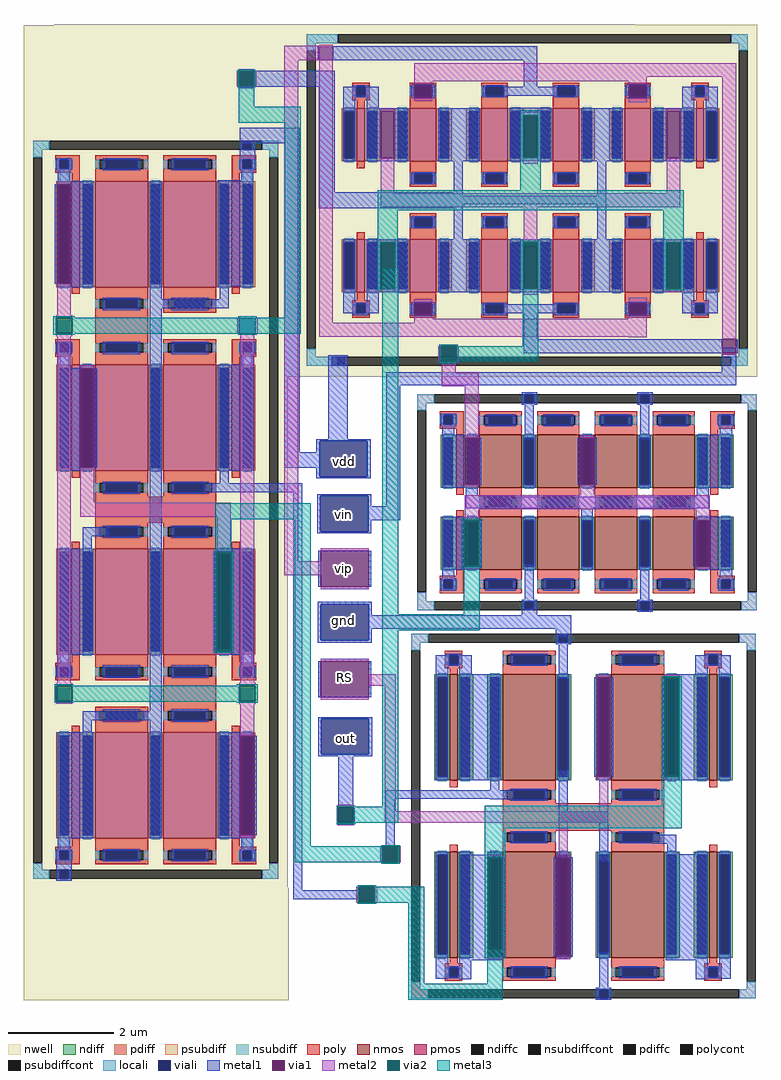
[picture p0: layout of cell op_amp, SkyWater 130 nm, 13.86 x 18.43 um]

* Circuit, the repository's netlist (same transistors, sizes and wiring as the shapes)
* NGSPICE file created from op_amp.ext - technology: sky130A

.subckt sky130_fd_pr__nfet_01v8_YYNGNX a_n407_n343# a_407_n255# a_189_55# a_407_55#
+ a_n247_55# a_n465_55# a_n29_n255# a_n247_n255# a_n465_n255# a_n29_55# a_n189_n343#
+ a_29_n343# a_247_n343# a_189_n255# VSUBS
X0 a_n247_55# a_n407_n343# a_n465_55# VSUBS sky130_fd_pr__nfet_01v8 ad=0.145 pd=1.29 as=0.29 ps=2.58 w=1 l=0.8
X1 a_189_55# a_29_n343# a_n29_55# VSUBS sky130_fd_pr__nfet_01v8 ad=0.145 pd=1.29 as=0.145 ps=1.29 w=1 l=0.8
X2 a_n29_n255# a_n189_n343# a_n247_n255# VSUBS sky130_fd_pr__nfet_01v8 ad=0.145 pd=1.29 as=0.145 ps=1.29 w=1 l=0.8
X3 a_n29_55# a_n189_n343# a_n247_55# VSUBS sky130_fd_pr__nfet_01v8 ad=0.145 pd=1.29 as=0.145 ps=1.29 w=1 l=0.8
X4 a_n247_n255# a_n407_n343# a_n465_n255# VSUBS sky130_fd_pr__nfet_01v8 ad=0.145 pd=1.29 as=0.29 ps=2.58 w=1 l=0.8
X5 a_407_n255# a_247_n343# a_189_n255# VSUBS sky130_fd_pr__nfet_01v8 ad=0.29 pd=2.58 as=0.145 ps=1.29 w=1 l=0.8
X6 a_407_55# a_247_n343# a_189_55# VSUBS sky130_fd_pr__nfet_01v8 ad=0.29 pd=2.58 as=0.145 ps=1.29 w=1 l=0.8
X7 a_189_n255# a_29_n343# a_n29_n255# VSUBS sky130_fd_pr__nfet_01v8 ad=0.145 pd=1.29 as=0.145 ps=1.29 w=1 l=0.8
.ends

.subckt sky130_fd_pr__nfet_01v8_6H9P4D a_n73_n100# a_15_n100# a_n15_n126# VSUBS
X0 a_15_n100# a_n15_n126# a_n73_n100# VSUBS sky130_fd_pr__nfet_01v8 ad=0.29 pd=2.58 as=0.29 ps=2.58 w=1 l=0.15
.ends

.subckt nmos_diff D8 D9 gnd
Xsky130_fd_pr__nfet_01v8_YYNGNX_0 D8 D9 gnd D8 gnd D8 D8 gnd D9 D9 D8 D8 D8 gnd gnd
+ sky130_fd_pr__nfet_01v8_YYNGNX
Xsky130_fd_pr__nfet_01v8_6H9P4D_0 D8 D8 D8 gnd sky130_fd_pr__nfet_01v8_6H9P4D
Xsky130_fd_pr__nfet_01v8_6H9P4D_1 D8 D8 D8 gnd sky130_fd_pr__nfet_01v8_6H9P4D
Xsky130_fd_pr__nfet_01v8_6H9P4D_2 D9 D9 D9 gnd sky130_fd_pr__nfet_01v8_6H9P4D
Xsky130_fd_pr__nfet_01v8_6H9P4D_3 D9 D9 D9 gnd sky130_fd_pr__nfet_01v8_6H9P4D
.ends

.subckt sky130_fd_pr__pfet_01v8_2ZH9AN a_15_n200# a_n15_n226# a_n73_n200# w_n109_n262#
X0 a_15_n200# a_n15_n226# a_n73_n200# w_n109_n262# sky130_fd_pr__pfet_01v8 ad=0.58 pd=4.58 as=0.58 ps=4.58 w=2 l=0.15
.ends

.subckt sky130_fd_pr__pfet_01v8_SDE6B7 a_29_n297# a_n287_n200# a_n229_n297# a_229_n200#
+ a_n29_n200# w_n323_n300#
X0 a_229_n200# a_29_n297# a_n29_n200# w_n323_n300# sky130_fd_pr__pfet_01v8 ad=0.58 pd=4.58 as=0.29 ps=2.29 w=2 l=1
X1 a_n29_n200# a_n229_n297# a_n287_n200# w_n323_n300# sky130_fd_pr__pfet_01v8 ad=0.29 pd=2.29 as=0.58 ps=4.58 w=2 l=1
.ends

.subckt pmoscs D5 D2 D1 VDD
Xsky130_fd_pr__pfet_01v8_2ZH9AN_0 D2 D2 D2 VDD sky130_fd_pr__pfet_01v8_2ZH9AN
Xsky130_fd_pr__pfet_01v8_2ZH9AN_1 VDD VDD VDD VDD sky130_fd_pr__pfet_01v8_2ZH9AN
Xsky130_fd_pr__pfet_01v8_2ZH9AN_2 D5 D5 D5 VDD sky130_fd_pr__pfet_01v8_2ZH9AN
Xsky130_fd_pr__pfet_01v8_2ZH9AN_3 D2 D2 D2 VDD sky130_fd_pr__pfet_01v8_2ZH9AN
Xsky130_fd_pr__pfet_01v8_2ZH9AN_4 D1 D1 D1 VDD sky130_fd_pr__pfet_01v8_2ZH9AN
Xsky130_fd_pr__pfet_01v8_2ZH9AN_5 D1 D1 D1 VDD sky130_fd_pr__pfet_01v8_2ZH9AN
Xsky130_fd_pr__pfet_01v8_2ZH9AN_6 VDD VDD VDD VDD sky130_fd_pr__pfet_01v8_2ZH9AN
Xsky130_fd_pr__pfet_01v8_2ZH9AN_7 D5 D5 D5 VDD sky130_fd_pr__pfet_01v8_2ZH9AN
Xsky130_fd_pr__pfet_01v8_SDE6B7_0 D2 VDD VDD D5 VDD VDD sky130_fd_pr__pfet_01v8_SDE6B7
Xsky130_fd_pr__pfet_01v8_SDE6B7_1 D2 D2 D2 D1 VDD VDD sky130_fd_pr__pfet_01v8_SDE6B7
Xsky130_fd_pr__pfet_01v8_SDE6B7_2 D2 D1 D2 D2 VDD VDD sky130_fd_pr__pfet_01v8_SDE6B7
Xsky130_fd_pr__pfet_01v8_SDE6B7_3 VDD D5 D2 VDD VDD VDD sky130_fd_pr__pfet_01v8_SDE6B7
.ends

.subckt sky130_fd_pr__pfet_01v8_LA8JHL a_n73_n64# a_n33_n161# w_n109_n164# a_15_n64#
X0 a_15_n64# a_n33_n161# a_n73_n64# w_n109_n164# sky130_fd_pr__pfet_01v8 ad=0.29 pd=2.58 as=0.29 ps=2.58 w=1 l=0.15
.ends

.subckt sky130_fd_pr__pfet_01v8_MA8JHN a_15_n136# a_n33_95# a_n73_n136# w_n109_n198#
X0 a_15_n136# a_n33_95# a_n73_n136# w_n109_n198# sky130_fd_pr__pfet_01v8 ad=0.29 pd=2.58 as=0.29 ps=2.58 w=1 l=0.15
.ends

.subckt sky130_fd_pr__pfet_01v8_BHRSS5 a_n50_n197# a_50_n100# w_n144_n200# a_n108_n100#
X0 a_50_n100# a_n50_n197# a_n108_n100# w_n144_n200# sky130_fd_pr__pfet_01v8 ad=0.29 pd=2.58 as=0.29 ps=2.58 w=1 l=0.5
.ends

.subckt pmos_diff S D6 D7 vin vip vdd
Xsky130_fd_pr__pfet_01v8_LA8JHL_0 D7 D7 vdd D7 sky130_fd_pr__pfet_01v8_LA8JHL
Xsky130_fd_pr__pfet_01v8_LA8JHL_2 D7 D7 vdd D7 sky130_fd_pr__pfet_01v8_LA8JHL
Xsky130_fd_pr__pfet_01v8_MA8JHN_0 D6 D6 D6 vdd sky130_fd_pr__pfet_01v8_MA8JHN
Xsky130_fd_pr__pfet_01v8_MA8JHN_2 D6 D6 D6 vdd sky130_fd_pr__pfet_01v8_MA8JHN
Xsky130_fd_pr__pfet_01v8_BHRSS5_0 vin D6 vdd S sky130_fd_pr__pfet_01v8_BHRSS5
Xsky130_fd_pr__pfet_01v8_BHRSS5_1 vip D7 vdd S sky130_fd_pr__pfet_01v8_BHRSS5
Xsky130_fd_pr__pfet_01v8_BHRSS5_2 vip S vdd D7 sky130_fd_pr__pfet_01v8_BHRSS5
Xsky130_fd_pr__pfet_01v8_BHRSS5_3 vin S vdd D6 sky130_fd_pr__pfet_01v8_BHRSS5
Xsky130_fd_pr__pfet_01v8_BHRSS5_4 vip D7 vdd S sky130_fd_pr__pfet_01v8_BHRSS5
Xsky130_fd_pr__pfet_01v8_BHRSS5_5 vip S vdd D7 sky130_fd_pr__pfet_01v8_BHRSS5
Xsky130_fd_pr__pfet_01v8_BHRSS5_6 vin D6 vdd S sky130_fd_pr__pfet_01v8_BHRSS5
Xsky130_fd_pr__pfet_01v8_BHRSS5_7 vin S vdd D6 sky130_fd_pr__pfet_01v8_BHRSS5
.ends

.subckt sky130_fd_pr__nfet_01v8_46AAJJ a_100_n200# a_n158_n200# a_n100_n288# VSUBS
X0 a_100_n200# a_n100_n288# a_n158_n200# VSUBS sky130_fd_pr__nfet_01v8 ad=0.58 pd=4.58 as=0.58 ps=4.58 w=2 l=1
.ends

.subckt sky130_fd_pr__nfet_01v8_TCR5KT a_n33_191# a_n73_n231# a_15_n231# VSUBS
X0 a_15_n231# a_n33_191# a_n73_n231# VSUBS sky130_fd_pr__nfet_01v8 ad=0.58 pd=4.58 as=0.58 ps=4.58 w=2 l=0.15
.ends

.subckt sky130_fd_pr__nfet_01v8_SCJFGL a_n33_n257# a_n73_n169# a_15_n169# VSUBS
X0 a_15_n169# a_n33_n257# a_n73_n169# VSUBS sky130_fd_pr__nfet_01v8 ad=0.58 pd=4.58 as=0.58 ps=4.58 w=2 l=0.15
.ends

.subckt nmoscs gnd D3 rs D4
Xsky130_fd_pr__nfet_01v8_46AAJJ_0 gnd D3 D3 gnd sky130_fd_pr__nfet_01v8_46AAJJ
Xsky130_fd_pr__nfet_01v8_46AAJJ_1 D4 rs D3 gnd sky130_fd_pr__nfet_01v8_46AAJJ
Xsky130_fd_pr__nfet_01v8_46AAJJ_2 rs D4 D3 gnd sky130_fd_pr__nfet_01v8_46AAJJ
Xsky130_fd_pr__nfet_01v8_46AAJJ_3 D3 gnd D3 gnd sky130_fd_pr__nfet_01v8_46AAJJ
Xsky130_fd_pr__nfet_01v8_TCR5KT_0 D3 D3 D3 gnd sky130_fd_pr__nfet_01v8_TCR5KT
Xsky130_fd_pr__nfet_01v8_TCR5KT_1 D4 D4 D4 gnd sky130_fd_pr__nfet_01v8_TCR5KT
Xsky130_fd_pr__nfet_01v8_SCJFGL_0 D4 D4 D4 gnd sky130_fd_pr__nfet_01v8_SCJFGL
Xsky130_fd_pr__nfet_01v8_SCJFGL_1 D3 D3 D3 gnd sky130_fd_pr__nfet_01v8_SCJFGL
.ends

.subckt op_amp vdd vin vip gnd RS out
Xnmos_diff_0 pmos_diff_0/D6 out gnd nmos_diff
Xpmoscs_0 pmoscs_0/D5 pmoscs_0/D2 pmoscs_0/D1 vdd pmoscs
Xpmos_diff_0 pmoscs_0/D5 pmos_diff_0/D6 out vin vip vdd pmos_diff
Xnmoscs_0 gnd pmoscs_0/D1 RS pmoscs_0/D2 nmoscs
.ends

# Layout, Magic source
magic
tech sky130A
magscale 1 2
<< nwell >>
rect 116 3260 2307 3264
rect 0 1932 2770 3260
rect 0 -421 1002 3
<< viali >>
rect 1587 1752 1621 1786
rect 1118 1555 1298 1690
rect 1121 1347 1301 1482
rect 1123 938 1303 1073
rect 1124 506 1304 641
<< metal1 >>
rect 812 3088 872 3094
rect 872 3028 1175 3088
rect 812 3022 872 3028
rect 816 2814 1042 2872
rect 816 2812 874 2814
rect 984 1647 1042 2814
rect 1115 2628 1175 3028
rect 1115 2568 1647 2628
rect 1579 2044 1631 2050
rect 1151 1696 1224 2006
rect 1579 1986 1631 1992
rect 2637 1949 2691 2041
rect 1369 1901 2691 1949
rect 1106 1690 1310 1696
rect 1106 1647 1118 1690
rect 984 1589 1118 1647
rect 1106 1555 1118 1589
rect 1298 1555 1310 1690
rect 1106 1549 1310 1555
rect 691 1496 1053 1530
rect 1019 -6 1053 1496
rect 1109 1482 1313 1488
rect 1109 1347 1121 1482
rect 1301 1444 1313 1482
rect 1369 1444 1423 1901
rect 1656 1525 1666 1701
rect 1718 1525 1728 1701
rect 1301 1390 1423 1444
rect 1301 1347 1313 1390
rect 1109 1341 1313 1347
rect 1113 1140 1123 1275
rect 1303 1140 1313 1275
rect 1111 1073 1315 1082
rect 1111 938 1123 1073
rect 1303 1031 1315 1073
rect 1881 1031 1939 1057
rect 1303 980 2067 1031
rect 1303 938 1315 980
rect 2009 948 2067 980
rect 1111 928 1315 938
rect 1113 723 1123 858
rect 1303 723 1313 858
rect 1112 641 1316 647
rect 1112 506 1124 641
rect 1304 506 1316 641
rect 1112 500 1316 506
rect 1189 306 1245 500
rect 1368 338 1825 371
rect 1183 250 1189 306
rect 1245 250 1251 306
rect 1189 244 1245 250
rect 1368 161 1401 338
rect 1359 155 1411 161
rect 1359 97 1411 103
rect 1264 -6 1270 3
rect 1019 -40 1270 -6
rect 1264 -49 1270 -40
rect 1322 -49 1328 3
<< via1 >>
rect 812 3028 872 3088
rect 1579 1992 1631 2044
rect 1666 1525 1718 1701
rect 1123 1140 1303 1275
rect 1123 723 1303 858
rect 1189 250 1245 306
rect 1359 103 1411 155
rect 1270 -49 1322 3
<< metal2 >>
rect 984 3127 1168 3181
rect 806 3086 812 3088
rect 872 3086 878 3088
rect 805 3030 812 3086
rect 872 3030 879 3086
rect 806 3028 812 3030
rect 872 3028 878 3030
rect 728 1271 784 1281
rect 984 1236 1038 3127
rect 1886 2440 1942 2450
rect 1886 2255 1942 2265
rect 1566 1988 1575 2048
rect 1635 1988 1644 2048
rect 1579 1948 1631 1988
rect 1579 1896 1718 1948
rect 1666 1701 1718 1896
rect 1666 1515 1718 1525
rect 1664 1391 1720 1401
rect 1123 1275 1303 1285
rect 984 1182 1123 1236
rect 1664 1205 1720 1215
rect 1123 1130 1303 1140
rect 728 885 784 895
rect 1123 858 1303 868
rect 1303 765 1406 808
rect 1123 713 1303 723
rect 1187 308 1247 317
rect 1183 250 1187 306
rect 1247 250 1251 306
rect 1363 291 1406 765
rect 1363 248 2042 291
rect 1187 239 1247 248
rect 1346 99 1355 159
rect 1415 99 1424 159
rect 1270 7 1322 9
rect 1257 -53 1266 7
rect 1326 -53 1335 7
rect 1270 -55 1322 -53
<< via2 >>
rect 814 3030 870 3086
rect 728 895 784 1271
rect 1886 2265 1942 2440
rect 1575 2044 1635 2048
rect 1575 1992 1579 2044
rect 1579 1992 1631 2044
rect 1631 1992 1635 2044
rect 1575 1988 1635 1992
rect 1664 1215 1720 1391
rect 1187 306 1247 308
rect 1187 250 1189 306
rect 1189 250 1245 306
rect 1245 250 1247 306
rect 1187 248 1247 250
rect 1355 155 1415 159
rect 1355 103 1359 155
rect 1359 103 1411 155
rect 1411 103 1415 155
rect 1355 99 1415 103
rect 1266 3 1326 7
rect 1266 -49 1270 3
rect 1270 -49 1322 3
rect 1322 -49 1326 3
rect 1266 -53 1326 -49
<< metal3 >>
rect 809 3086 875 3091
rect 809 3030 814 3086
rect 870 3030 875 3086
rect 809 3025 875 3030
rect 812 2951 872 3025
rect 812 2891 1046 2951
rect 986 2155 1046 2891
rect 1876 2440 1952 2445
rect 750 2095 1046 2155
rect 724 1394 1084 1454
rect 724 1276 784 1394
rect 718 1271 794 1276
rect 718 895 728 1271
rect 784 895 794 1271
rect 718 890 794 895
rect 1024 159 1084 1394
rect 1355 1035 1415 2340
rect 1876 2265 1886 2440
rect 1942 2265 1952 2440
rect 1876 2260 1952 2265
rect 1570 2048 1640 2053
rect 1884 2048 1944 2260
rect 1570 1988 1575 2048
rect 1635 1988 1944 2048
rect 1570 1983 1640 1988
rect 1654 1391 1730 1396
rect 1654 1215 1664 1391
rect 1720 1215 1730 1391
rect 1654 1210 1730 1215
rect 1663 1035 1723 1210
rect 1355 975 1723 1035
rect 1182 308 1252 313
rect 1355 308 1415 975
rect 1182 248 1187 308
rect 1247 248 1415 308
rect 1182 243 1252 248
rect 1350 159 1420 164
rect 1024 99 1355 159
rect 1415 99 1420 159
rect 1350 94 1420 99
rect 1261 7 1331 12
rect 1261 -53 1266 7
rect 1326 -53 1513 7
rect 1261 -58 1331 -53
rect 1453 -360 1513 -53
rect 1750 -360 1810 -230
rect 1453 -420 1810 -360
use nmos_diff  nmos_diff_0
transform 1 0 1663 0 1 1115
box -176 -71 1106 758
use nmoscs  nmoscs_0
transform 1 0 1751 0 1 321
box -288 -741 1014 647
use pmos_diff  pmos_diff_0
transform 1 0 1755 0 1 2170
box -721 -232 1016 1091
use pmoscs  pmoscs_0
transform 1 0 176 0 1 1500
box -176 -1500 822 1360
<< labels >>
flabel viali 1211 1611 1211 1611 0 FreeSans 800 0 0 0 vdd
port 1 nsew
flabel viali 1209 1413 1209 1413 0 FreeSans 800 0 0 0 vin
port 2 nsew
flabel via1 1209 1209 1209 1209 0 FreeSans 800 0 0 0 vip
port 3 nsew
flabel viali 1209 1010 1209 1010 0 FreeSans 800 0 0 0 gnd
port 4 nsew
flabel via1 1213 795 1213 795 0 FreeSans 800 0 0 0 RS
port 5 nsew
flabel viali 1215 568 1215 568 0 FreeSans 800 0 0 0 out
port 6 nsew
<< end >>

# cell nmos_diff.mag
magic
tech sky130A
magscale 1 2
<< psubdiff >>
rect -176 718 -113 752
rect 1046 718 1106 752
rect -176 690 -142 718
rect 1072 690 1106 718
rect -176 -31 -142 4
rect 1072 -31 1106 4
rect -176 -65 -113 -31
rect 1046 -65 1106 -31
<< psubdiffcont >>
rect -113 718 1046 752
rect -176 4 -142 690
rect 1072 4 1106 690
rect -113 -65 1046 -31
<< poly >>
rect -92 671 0 687
rect -92 637 -76 671
rect -42 637 0 671
rect -92 621 0 637
rect -30 618 0 621
rect 930 670 1022 686
rect 930 636 972 670
rect 1006 636 1022 670
rect 930 620 1022 636
rect -92 50 0 66
rect -92 16 -76 50
rect -42 16 0 50
rect -92 0 0 16
rect 930 50 1022 66
rect 930 16 972 50
rect 1006 16 1022 50
rect 930 0 1022 16
<< polycont >>
rect -76 637 -42 671
rect 972 636 1006 670
rect -76 16 -42 50
rect 972 16 1006 50
<< locali >>
rect -176 718 -113 752
rect 1046 718 1106 752
rect -176 690 -142 718
rect 1072 690 1106 718
rect -92 637 -76 671
rect -42 637 -26 671
rect 956 636 972 670
rect 1006 636 1022 670
rect -92 16 -76 50
rect -42 16 -26 50
rect 956 16 972 50
rect 1006 16 1022 50
rect -176 -31 -142 4
rect 1072 -31 1106 4
rect -176 -65 -113 -31
rect 1046 -65 1106 -31
<< viali >>
rect 230 718 264 752
rect 666 718 700 752
rect -76 637 -42 671
rect 972 636 1006 670
rect -76 16 -42 50
rect 972 16 1006 50
rect 230 -65 264 -31
rect 666 -65 700 -31
<< metal1 >>
rect 218 752 276 758
rect 218 718 230 752
rect 264 718 276 752
rect 218 712 276 718
rect 654 752 712 758
rect 654 718 666 752
rect 700 718 712 752
rect 654 712 712 718
rect -88 671 -30 677
rect -88 637 -76 671
rect -42 637 -30 671
rect -88 631 -30 637
rect -82 598 -36 631
rect -82 398 52 598
rect 230 582 264 712
rect 429 410 439 586
rect 491 410 501 586
rect 666 582 700 712
rect 960 670 1018 676
rect 960 636 972 670
rect 1006 636 1018 670
rect 960 630 1018 636
rect 966 598 1012 630
rect 6 366 52 398
rect 878 398 1012 598
rect 878 366 924 398
rect 6 320 86 366
rect 162 320 777 365
rect 845 320 924 366
rect -82 276 52 288
rect -82 100 3 276
rect 55 100 65 276
rect 442 273 487 320
rect 878 276 1012 288
rect -82 88 52 100
rect -82 56 -36 88
rect -88 50 -30 56
rect -88 16 -76 50
rect -42 16 -30 50
rect -88 10 -30 16
rect 230 -25 264 110
rect 865 100 875 276
rect 927 100 1012 276
rect 666 -25 700 91
rect 878 88 1012 100
rect 966 56 1012 88
rect 960 50 1018 56
rect 960 16 972 50
rect 1006 16 1018 50
rect 960 10 1018 16
rect 218 -31 276 -25
rect 218 -65 230 -31
rect 264 -65 276 -31
rect 218 -71 276 -65
rect 654 -31 712 -25
rect 654 -65 666 -31
rect 700 -65 712 -31
rect 654 -71 712 -65
<< via1 >>
rect 439 410 491 586
rect 3 100 55 276
rect 875 100 927 276
<< metal2 >>
rect 439 586 491 596
rect 439 369 491 410
rect 3 317 927 369
rect 3 276 55 317
rect 3 90 55 100
rect 875 276 927 317
rect 875 90 927 100
use sky130_fd_pr__nfet_01v8_6H9P4D  sky130_fd_pr__nfet_01v8_6H9P4D_0
transform 1 0 -15 0 1 498
box -73 -126 73 126
use sky130_fd_pr__nfet_01v8_6H9P4D  sky130_fd_pr__nfet_01v8_6H9P4D_1
transform 1 0 945 0 1 498
box -73 -126 73 126
use sky130_fd_pr__nfet_01v8_6H9P4D  sky130_fd_pr__nfet_01v8_6H9P4D_2
transform 1 0 945 0 1 188
box -73 -126 73 126
use sky130_fd_pr__nfet_01v8_6H9P4D  sky130_fd_pr__nfet_01v8_6H9P4D_3
transform 1 0 -15 0 1 188
box -73 -126 73 126
use sky130_fd_pr__nfet_01v8_YYNGNX  sky130_fd_pr__nfet_01v8_YYNGNX_0
transform 1 0 465 0 1 343
box -465 -343 465 343
<< labels >>
flabel metal1 27 386 27 386 0 FreeSans 1600 0 0 0 D8
port 1 nsew
flabel metal2 900 300 900 300 0 FreeSans 1600 0 0 0 D9
port 2 nsew
flabel metal1 682 -3 682 -3 0 FreeSans 480 0 0 0 gnd
port 3 nsew
<< end >>

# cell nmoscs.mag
magic
tech sky130A
magscale 1 2
<< psubdiff >>
rect -288 607 -223 641
rect 952 607 1014 641
rect -288 579 -254 607
rect 980 579 1014 607
rect -288 -701 -254 -673
rect 980 -701 1014 -673
rect -288 -735 -223 -701
rect 952 -735 1014 -701
<< psubdiffcont >>
rect -223 607 952 641
rect -288 -673 -254 579
rect 980 -673 1014 579
rect -223 -735 952 -701
<< poly >>
rect 58 -103 668 0
<< locali >>
rect -288 607 -223 641
rect 952 607 1014 641
rect -288 579 -254 607
rect -288 -701 -254 -673
rect 980 579 1014 607
rect 980 -701 1014 -673
rect -288 -735 -223 -701
rect 952 -735 1014 -701
<< viali >>
rect 270 607 304 641
rect 422 -735 456 -701
<< metal1 >>
rect 258 641 316 647
rect 258 607 270 641
rect 304 607 316 641
rect 258 601 316 607
rect -195 479 -148 560
rect -106 488 -59 560
rect -106 88 52 488
rect 270 471 304 601
rect 786 488 832 560
rect 674 476 832 488
rect 874 482 920 560
rect 12 50 46 88
rect 12 16 93 50
rect 270 -30 304 125
rect 403 100 413 476
rect 465 100 475 476
rect 661 100 671 476
rect 723 100 832 476
rect 674 88 832 100
rect 270 -73 456 -30
rect 3 -193 52 -191
rect -106 -203 57 -193
rect -194 -662 -148 -578
rect -106 -579 3 -203
rect 55 -579 65 -203
rect 251 -579 261 -203
rect 313 -579 323 -203
rect 422 -219 456 -73
rect 622 -153 714 -119
rect 680 -191 714 -153
rect -106 -591 57 -579
rect -106 -663 -60 -591
rect 422 -695 456 -561
rect 674 -591 832 -191
rect 787 -664 832 -591
rect 875 -662 920 -567
rect 410 -701 468 -695
rect 410 -735 422 -701
rect 456 -735 468 -701
rect 410 -741 468 -735
<< via1 >>
rect 413 100 465 476
rect 671 100 723 476
rect 3 -579 55 -203
rect 261 -579 313 -203
<< metal2 >>
rect 413 476 465 486
rect 413 90 465 100
rect 669 476 725 486
rect 669 90 725 100
rect 422 -30 456 90
rect 270 -73 456 -30
rect 270 -193 304 -73
rect 1 -203 57 -193
rect 1 -589 57 -579
rect 261 -203 313 -193
rect 261 -589 313 -579
<< via2 >>
rect 669 100 671 476
rect 671 100 723 476
rect 723 100 725 476
rect 1 -579 3 -203
rect 3 -579 55 -203
rect 55 -579 57 -203
<< metal3 >>
rect 659 476 735 481
rect 659 100 669 476
rect 725 100 735 476
rect 659 -9 735 100
rect -9 -94 735 -9
rect -9 -203 67 -94
rect -9 -579 1 -203
rect 57 -579 67 -203
rect -9 -584 67 -579
use sky130_fd_pr__nfet_01v8_46AAJJ  sky130_fd_pr__nfet_01v8_46AAJJ_0
transform 1 0 158 0 1 288
box -158 -288 158 288
use sky130_fd_pr__nfet_01v8_46AAJJ  sky130_fd_pr__nfet_01v8_46AAJJ_1
transform 1 0 568 0 1 288
box -158 -288 158 288
use sky130_fd_pr__nfet_01v8_46AAJJ  sky130_fd_pr__nfet_01v8_46AAJJ_2
transform 1 0 158 0 1 -382
box -158 -288 158 288
use sky130_fd_pr__nfet_01v8_46AAJJ  sky130_fd_pr__nfet_01v8_46AAJJ_3
transform 1 0 568 0 1 -382
box -158 -288 158 288
use sky130_fd_pr__nfet_01v8_SCJFGL  sky130_fd_pr__nfet_01v8_SCJFGL_0
transform 1 0 -127 0 1 -413
box -73 -257 73 257
use sky130_fd_pr__nfet_01v8_SCJFGL  sky130_fd_pr__nfet_01v8_SCJFGL_1
transform 1 0 853 0 1 -413
box -73 -257 73 257
use sky130_fd_pr__nfet_01v8_TCR5KT  sky130_fd_pr__nfet_01v8_TCR5KT_0
transform 1 0 -127 0 1 319
box -73 -257 73 257
use sky130_fd_pr__nfet_01v8_TCR5KT  sky130_fd_pr__nfet_01v8_TCR5KT_1
transform 1 0 853 0 1 319
box -73 -257 73 257
<< labels >>
flabel metal1 287 558 287 558 0 FreeSans 320 0 0 0 gnd
port 1 nsew
flabel metal1 27 49 27 49 0 FreeSans 320 0 0 0 D3
port 2 nsew
flabel metal2 439 39 439 39 0 FreeSans 320 0 0 0 rs
port 3 nsew
flabel metal3 699 36 699 36 0 FreeSans 320 0 0 0 D4
port 4 nsew
<< end >>

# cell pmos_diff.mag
magic
tech sky130A
magscale 1 2
<< nwell >>
rect -721 -232 1016 1091
<< nsubdiff >>
rect -685 1021 -568 1055
rect 917 1021 980 1055
rect -685 995 -651 1021
rect -685 -162 -651 -133
rect 946 995 980 1021
rect 946 -162 980 -133
rect -685 -196 -568 -162
rect 917 -196 980 -162
<< nsubdiffcont >>
rect -568 1021 917 1055
rect -685 -133 -651 995
rect 946 -133 980 995
rect -568 -196 917 -162
<< locali >>
rect -685 1021 -568 1055
rect 917 1021 980 1055
rect -685 995 -651 1021
rect 946 995 980 1021
rect -685 -162 -651 -133
rect 946 -162 980 -133
rect -685 -196 -592 -162
rect 917 -196 980 -162
<< viali >>
rect -280 823 -212 857
rect -592 -196 -568 -162
rect -568 -196 -543 -162
<< metal1 >>
rect -645 958 -639 1010
rect -587 958 185 1010
rect -548 773 -502 857
rect -460 776 -414 857
rect -290 814 -280 866
rect -212 814 -202 866
rect 133 857 185 958
rect 64 823 254 857
rect 520 814 530 866
rect 598 814 608 866
rect -460 764 -302 776
rect -460 588 -407 764
rect -355 588 -302 764
rect -460 576 -302 588
rect -190 576 -32 776
rect 80 750 238 777
rect 732 776 778 858
rect 80 589 133 750
rect 185 589 238 750
rect 80 577 238 589
rect 350 576 508 776
rect 620 764 778 776
rect 820 774 866 858
rect 620 588 673 764
rect 725 588 778 764
rect 620 576 778 588
rect -130 445 -96 576
rect 412 445 446 576
rect -130 414 446 445
rect -130 282 -96 414
rect 412 282 446 414
rect -460 270 -302 282
rect -460 94 -406 270
rect -354 94 -302 270
rect -548 1 -502 85
rect -460 82 -302 94
rect -190 82 -32 282
rect 80 256 238 282
rect 80 95 133 256
rect 185 95 238 256
rect 80 82 238 95
rect 350 82 508 282
rect 620 270 778 282
rect 620 94 673 270
rect 725 94 778 270
rect 620 82 778 94
rect -460 1 -414 82
rect -290 -8 -280 44
rect -212 -8 -202 44
rect 64 1 254 35
rect 133 -97 185 1
rect 520 -8 530 44
rect 598 -8 608 44
rect 732 1 778 82
rect 820 1 866 85
rect 133 -149 883 -97
rect 935 -149 941 -97
rect -604 -162 -531 -156
rect -604 -196 -592 -162
rect -543 -196 -531 -162
rect -604 -202 -531 -196
<< via1 >>
rect -639 958 -587 1010
rect -280 857 -212 866
rect -280 823 -212 857
rect -280 814 -212 823
rect 530 814 598 866
rect -407 588 -355 764
rect 133 589 185 750
rect 673 588 725 764
rect -406 94 -354 270
rect 133 95 185 256
rect 673 94 725 270
rect -280 -8 -212 44
rect 530 -8 598 44
rect 883 -149 935 -97
<< metal2 >>
rect -639 1010 -587 1016
rect -639 -34 -587 958
rect -280 894 935 946
rect -280 878 598 894
rect -280 866 -212 878
rect -280 804 -212 814
rect 530 866 598 878
rect 530 798 598 814
rect -407 764 -355 774
rect 673 764 725 774
rect -407 455 -355 588
rect 131 750 187 762
rect 131 566 187 589
rect 514 455 618 456
rect 673 455 725 588
rect -407 403 725 455
rect -408 270 -352 280
rect -408 84 -352 94
rect 133 256 185 403
rect 133 72 185 95
rect 671 270 727 280
rect 671 84 727 94
rect -280 44 -212 54
rect -280 -18 -212 -8
rect 530 44 598 60
rect 530 -18 598 -8
rect -280 -34 598 -18
rect -639 -86 598 -34
rect 530 -88 598 -86
rect 883 -97 935 894
rect 883 -155 935 -149
<< via2 >>
rect 131 589 133 750
rect 133 589 185 750
rect 185 589 187 750
rect -408 94 -406 270
rect -406 94 -354 270
rect -354 94 -352 270
rect 671 94 673 270
rect 673 94 725 270
rect 725 94 727 270
<< metal3 >>
rect 121 750 197 769
rect 121 589 131 750
rect 187 589 197 750
rect 121 467 197 589
rect -418 391 737 467
rect -418 270 -342 391
rect -418 94 -408 270
rect -352 94 -342 270
rect -418 89 -342 94
rect 661 270 737 391
rect 661 94 671 270
rect 727 94 737 270
rect 661 89 737 94
use sky130_fd_pr__pfet_01v8_BHRSS5  sky130_fd_pr__pfet_01v8_BHRSS5_0
transform 1 0 24 0 1 182
box -144 -200 144 200
use sky130_fd_pr__pfet_01v8_BHRSS5  sky130_fd_pr__pfet_01v8_BHRSS5_1
transform 1 0 564 0 1 182
box -144 -200 144 200
use sky130_fd_pr__pfet_01v8_BHRSS5  sky130_fd_pr__pfet_01v8_BHRSS5_2
transform 1 0 -246 0 1 182
box -144 -200 144 200
use sky130_fd_pr__pfet_01v8_BHRSS5  sky130_fd_pr__pfet_01v8_BHRSS5_3
transform 1 0 -246 0 1 676
box -144 -200 144 200
use sky130_fd_pr__pfet_01v8_BHRSS5  sky130_fd_pr__pfet_01v8_BHRSS5_4
transform 1 0 24 0 1 676
box -144 -200 144 200
use sky130_fd_pr__pfet_01v8_BHRSS5  sky130_fd_pr__pfet_01v8_BHRSS5_5
transform 1 0 294 0 1 676
box -144 -200 144 200
use sky130_fd_pr__pfet_01v8_BHRSS5  sky130_fd_pr__pfet_01v8_BHRSS5_6
transform 1 0 564 0 1 676
box -144 -200 144 200
use sky130_fd_pr__pfet_01v8_BHRSS5  sky130_fd_pr__pfet_01v8_BHRSS5_7
transform 1 0 294 0 1 182
box -144 -200 144 200
use sky130_fd_pr__pfet_01v8_LA8JHL  sky130_fd_pr__pfet_01v8_LA8JHL_0
transform 1 0 -481 0 1 146
box -109 -164 109 198
use sky130_fd_pr__pfet_01v8_LA8JHL  sky130_fd_pr__pfet_01v8_LA8JHL_2
transform 1 0 799 0 1 146
box -109 -164 109 198
use sky130_fd_pr__pfet_01v8_MA8JHN  sky130_fd_pr__pfet_01v8_MA8JHN_0
transform 1 0 -481 0 1 712
box -109 -198 109 164
use sky130_fd_pr__pfet_01v8_MA8JHN  sky130_fd_pr__pfet_01v8_MA8JHN_2
transform 1 0 799 0 1 712
box -109 -198 109 164
<< labels >>
flabel metal2 -380 542 -380 542 0 FreeSans 320 0 0 0 D6
port 2 nsew
flabel metal3 156 509 156 509 0 FreeSans 320 0 0 0 D7
port 3 nsew
flabel metal2 913 -71 913 -71 0 FreeSans 320 0 0 0 vin
port 4 nsew
flabel metal2 -611 931 -611 931 0 FreeSans 320 0 0 0 vip
port 5 nsew
flabel metal1 -113 601 -113 601 0 FreeSans 320 0 0 0 S
port 1 nsew
flabel viali -563 -178 -563 -178 0 FreeSans 320 0 0 0 vdd
port 6 nsew
<< end >>

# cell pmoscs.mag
magic
tech sky130A
magscale 1 2
<< nwell >>
rect -176 -1500 822 1360
<< nsubdiff >>
rect -140 1290 -78 1324
rect 725 1290 786 1324
rect -140 1261 -106 1290
rect 752 1261 786 1290
rect -140 -1430 -106 -1404
rect 752 -1430 786 -1404
rect -140 -1464 -78 -1430
rect 725 -1464 786 -1430
<< nsubdiffcont >>
rect -78 1290 725 1324
rect -140 -1404 -106 1261
rect 752 -1404 786 1261
rect -78 -1464 725 -1430
<< poly >>
rect -56 1252 36 1268
rect -56 1218 -40 1252
rect -6 1218 36 1252
rect -56 1202 36 1218
rect 6 1174 36 1202
rect 610 1252 702 1268
rect 610 1218 652 1252
rect 686 1218 702 1252
rect 610 1202 702 1218
rect 610 1191 640 1202
rect 94 574 294 674
rect -56 558 36 574
rect -56 524 -40 558
rect -6 524 36 558
rect -56 508 36 524
rect 6 496 36 508
rect 610 558 702 574
rect 610 524 652 558
rect 686 524 702 558
rect 610 508 702 524
rect 610 501 640 508
rect 94 -120 552 -20
rect 6 -648 36 -620
rect -56 -664 36 -648
rect -56 -698 -40 -664
rect -6 -698 36 -664
rect -56 -714 36 -698
rect 610 -648 640 -620
rect 610 -664 702 -648
rect 610 -698 652 -664
rect 686 -698 702 -664
rect 610 -714 702 -698
rect 352 -814 552 -714
rect 6 -1342 36 -1314
rect -56 -1358 36 -1342
rect -56 -1392 -40 -1358
rect -6 -1392 36 -1358
rect -56 -1408 36 -1392
rect 610 -1342 640 -1314
rect 610 -1358 702 -1342
rect 610 -1392 652 -1358
rect 686 -1392 702 -1358
rect 610 -1408 702 -1392
<< polycont >>
rect -40 1218 -6 1252
rect 652 1218 686 1252
rect -40 524 -6 558
rect 652 524 686 558
rect -40 -698 -6 -664
rect 652 -698 686 -664
rect -40 -1392 -6 -1358
rect 652 -1392 686 -1358
<< locali >>
rect -140 1290 -78 1324
rect 725 1290 786 1324
rect -140 1261 -106 1290
rect 752 1261 786 1290
rect -56 1218 -40 1252
rect -6 1218 10 1252
rect 636 1218 652 1252
rect 686 1218 702 1252
rect -40 1174 -6 1218
rect 652 1167 686 1218
rect -56 524 -40 558
rect -6 524 10 558
rect 636 524 652 558
rect 686 524 702 558
rect -40 471 -6 524
rect 652 469 686 524
rect -40 -664 -6 -620
rect 652 -664 686 -620
rect -56 -698 -40 -664
rect -6 -698 10 -664
rect 636 -698 652 -664
rect 686 -698 702 -664
rect -40 -1358 -6 -1314
rect 652 -1358 686 -1314
rect -56 -1392 -40 -1358
rect -6 -1392 10 -1358
rect 636 -1392 652 -1358
rect 686 -1392 702 -1358
rect -140 -1430 -106 -1404
rect 752 -1430 786 -1404
rect -140 -1464 -78 -1430
rect 725 -1464 786 -1430
<< viali >>
rect 652 1290 686 1324
rect -40 1218 -6 1252
rect 652 1218 686 1252
rect -40 524 -6 558
rect 652 524 686 558
rect -40 -698 -6 -664
rect 652 -698 686 -664
rect -40 -1392 -6 -1358
rect 652 -1392 686 -1358
rect -40 -1464 -6 -1430
<< metal1 >>
rect 640 1324 698 1330
rect 640 1290 652 1324
rect 686 1290 698 1324
rect -52 1252 6 1258
rect -52 1218 -40 1252
rect -6 1218 6 1252
rect -52 1212 6 1218
rect 640 1252 698 1290
rect 640 1218 652 1252
rect 686 1218 698 1252
rect 640 1212 698 1218
rect -46 1171 0 1212
rect 646 1174 692 1212
rect -46 1159 88 1171
rect -59 783 -49 1159
rect 3 783 88 1159
rect -46 771 88 783
rect 300 724 345 1171
rect 558 774 692 1174
rect 564 724 598 774
rect 300 690 598 724
rect -52 558 6 564
rect -52 524 -40 558
rect -6 524 6 558
rect -52 518 6 524
rect -46 465 0 518
rect -46 89 39 465
rect 91 89 101 465
rect -46 77 91 89
rect 48 -170 147 -136
rect 48 -217 82 -170
rect -46 -617 88 -217
rect -46 -658 0 -617
rect -52 -664 6 -658
rect -52 -698 -40 -664
rect -6 -698 6 -664
rect -52 -704 6 -698
rect 300 -830 345 690
rect 640 558 698 564
rect 640 524 652 558
rect 686 524 698 558
rect 640 518 698 524
rect 646 477 692 518
rect 558 77 692 477
rect 564 30 598 77
rect 504 -4 598 30
rect 558 -229 692 -217
rect 545 -605 555 -229
rect 607 -605 692 -229
rect 558 -617 692 -605
rect 646 -658 692 -617
rect 640 -664 698 -658
rect 640 -698 652 -664
rect 686 -698 698 -664
rect 640 -704 698 -698
rect 48 -864 345 -830
rect 48 -911 82 -864
rect -46 -1311 88 -911
rect 300 -1311 345 -864
rect 558 -923 692 -911
rect 558 -1299 643 -923
rect 695 -1299 705 -923
rect 558 -1311 692 -1299
rect -46 -1352 0 -1311
rect 646 -1352 692 -1311
rect -52 -1358 6 -1352
rect -52 -1392 -40 -1358
rect -6 -1392 6 -1358
rect -52 -1430 6 -1392
rect 640 -1358 698 -1352
rect 640 -1392 652 -1358
rect 686 -1392 698 -1358
rect 640 -1398 698 -1392
rect -52 -1464 -40 -1430
rect -6 -1464 6 -1430
rect -52 -1470 6 -1464
<< via1 >>
rect -49 783 3 1159
rect 39 89 91 465
rect 555 -605 607 -229
rect 643 -1299 695 -923
<< metal2 >>
rect -49 1159 3 1169
rect -49 665 3 783
rect -53 655 7 665
rect 630 595 639 655
rect 699 595 708 655
rect -53 585 7 595
rect -49 -725 3 585
rect 39 465 91 475
rect 39 -44 91 89
rect 39 -96 607 -44
rect 555 -229 607 -96
rect 555 -615 607 -605
rect 643 -724 695 595
rect -53 -734 7 -725
rect -53 -803 7 -794
rect 639 -734 699 -724
rect 639 -804 699 -794
rect 643 -923 695 -804
rect 643 -1309 695 -1299
<< via2 >>
rect -53 595 7 655
rect 639 595 699 655
rect -53 -794 7 -734
rect 639 -794 699 -734
<< metal3 >>
rect -63 655 17 660
rect 634 655 704 660
rect -63 595 -53 655
rect 7 595 639 655
rect 699 595 704 655
rect -63 590 17 595
rect 634 590 704 595
rect -58 -734 12 -729
rect 629 -734 709 -729
rect -58 -794 -53 -734
rect 7 -794 639 -734
rect 699 -794 709 -734
rect -58 -799 12 -794
rect 629 -799 709 -794
use sky130_fd_pr__pfet_01v8_2ZH9AN  sky130_fd_pr__pfet_01v8_2ZH9AN_0
transform 1 0 625 0 1 277
box -109 -262 109 262
use sky130_fd_pr__pfet_01v8_2ZH9AN  sky130_fd_pr__pfet_01v8_2ZH9AN_1
transform 1 0 21 0 1 -1111
box -109 -262 109 262
use sky130_fd_pr__pfet_01v8_2ZH9AN  sky130_fd_pr__pfet_01v8_2ZH9AN_2
transform 1 0 625 0 1 -1111
box -109 -262 109 262
use sky130_fd_pr__pfet_01v8_2ZH9AN  sky130_fd_pr__pfet_01v8_2ZH9AN_3
transform 1 0 21 0 1 -417
box -109 -262 109 262
use sky130_fd_pr__pfet_01v8_2ZH9AN  sky130_fd_pr__pfet_01v8_2ZH9AN_4
transform 1 0 625 0 1 -417
box -109 -262 109 262
use sky130_fd_pr__pfet_01v8_2ZH9AN  sky130_fd_pr__pfet_01v8_2ZH9AN_5
transform 1 0 21 0 1 277
box -109 -262 109 262
use sky130_fd_pr__pfet_01v8_2ZH9AN  sky130_fd_pr__pfet_01v8_2ZH9AN_6
transform 1 0 625 0 1 971
box -109 -262 109 262
use sky130_fd_pr__pfet_01v8_2ZH9AN  sky130_fd_pr__pfet_01v8_2ZH9AN_7
transform 1 0 21 0 1 971
box -109 -262 109 262
use sky130_fd_pr__pfet_01v8_SDE6B7  sky130_fd_pr__pfet_01v8_SDE6B7_0
transform 1 0 323 0 1 -1111
box -323 -300 323 300
use sky130_fd_pr__pfet_01v8_SDE6B7  sky130_fd_pr__pfet_01v8_SDE6B7_1
transform 1 0 323 0 1 -417
box -323 -300 323 300
use sky130_fd_pr__pfet_01v8_SDE6B7  sky130_fd_pr__pfet_01v8_SDE6B7_2
transform 1 0 323 0 1 277
box -323 -300 323 300
use sky130_fd_pr__pfet_01v8_SDE6B7  sky130_fd_pr__pfet_01v8_SDE6B7_3
transform 1 0 323 0 1 971
box -323 -300 323 300
<< labels >>
flabel metal2 678 -58 678 -58 0 FreeSans 160 0 0 0 D5
port 0 nsew
flabel metal1 578 16 578 16 0 FreeSans 160 0 0 0 D2
port 1 nsew
flabel metal2 574 -90 574 -90 0 FreeSans 160 0 0 0 D1
port 2 nsew
flabel metal1 670 1276 670 1276 0 FreeSans 160 0 0 0 VDD
port 3 nsew
<< end >>

# cell sky130_fd_pr__pfet_01v8_2ZH9AN: kit device sky130_fd_pr__pfet_01v8, w 2 l 0.15 m 1 nf 1 diffcov 100 polycov 100 guard 0 glc 1 grc 1 gtc 1 gbc 1 tbcov 100 rlcov 100 topc 0 botc 0 poverlap 0 doverlap 1 lmin 0.15 wmin 0.42 compatible {sky130_fd_pr__pfet_01v8 sky130_fd_pr__pfet_01v8_lvt sky130_fd_pr__pfet_01v8_hvt sky130_fd_pr__pfet_g5v0d10v5} full_metal 1 viasrc 100 viadrn 100 viagate 100 viagb 0 viagr 0 viagl 0 viagt 0

# cell sky130_fd_pr__pfet_01v8_SDE6B7: kit device sky130_fd_pr__pfet_01v8, w 2 l 1 m 1 nf 2 diffcov 100 polycov 100 guard 0 glc 1 grc 1 gtc 1 gbc 1 tbcov 100 rlcov 100 topc 1 botc 1 poverlap 0 doverlap 1 lmin 0.15 wmin 0.42 compatible {sky130_fd_pr__pfet_01v8 sky130_fd_pr__pfet_01v8_lvt sky130_fd_pr__pfet_01v8_hvt sky130_fd_pr__pfet_g5v0d10v5} full_metal 1 viasrc 100 viadrn 100 viagate 70 viagb 0 viagr 0 viagl 0 viagt 0

# cell sky130_fd_pr__pfet_01v8_BHRSS5: kit device sky130_fd_pr__pfet_01v8, w 1 l 0.5 m 1 nf 1 diffcov 100 polycov 100 guard 0 glc 1 grc 1 gtc 1 gbc 1 tbcov 100 rlcov 100 topc 1 botc 1 poverlap 0 doverlap 1 lmin 0.15 wmin 0.42 compatible {sky130_fd_pr__pfet_01v8 sky130_fd_pr__pfet_01v8_lvt sky130_fd_pr__pfet_01v8_hvt sky130_fd_pr__pfet_g5v0d10v5} full_metal 1 viasrc 100 viadrn 100 viagate 100 viagb 0 viagr 0 viagl 0 viagt 0

# cell sky130_fd_pr__pfet_01v8_LA8JHL: kit device sky130_fd_pr__pfet_01v8, w 1 l 0.15 m 1 nf 1 diffcov 100 polycov 100 guard 0 glc 1 grc 1 gtc 1 gbc 1 tbcov 100 rlcov 100 topc 0 botc 1 poverlap 0 doverlap 1 lmin 0.15 wmin 0.42 compatible {sky130_fd_pr__pfet_01v8 sky130_fd_pr__pfet_01v8_lvt sky130_fd_pr__pfet_01v8_hvt sky130_fd_pr__pfet_g5v0d10v5} full_metal 1 viasrc 100 viadrn 100 viagate 100 viagb 0 viagr 0 viagl 0 viagt 0

# cell sky130_fd_pr__pfet_01v8_MA8JHN: kit device sky130_fd_pr__pfet_01v8, w 1 l 0.15 m 1 nf 1 diffcov 100 polycov 100 guard 0 glc 1 grc 1 gtc 1 gbc 1 tbcov 100 rlcov 100 topc 1 botc 0 poverlap 0 doverlap 1 lmin 0.15 wmin 0.42 compatible {sky130_fd_pr__pfet_01v8 sky130_fd_pr__pfet_01v8_lvt sky130_fd_pr__pfet_01v8_hvt sky130_fd_pr__pfet_g5v0d10v5} full_metal 1 viasrc 100 viadrn 100 viagate 100 viagb 0 viagr 0 viagl 0 viagt 0

# cell sky130_fd_pr__nfet_01v8_46AAJJ: kit device sky130_fd_pr__nfet_01v8, w 2 l 1 m 1 nf 1 diffcov 100 polycov 100 guard 0 glc 1 grc 1 gtc 1 gbc 1 tbcov 100 rlcov 100 topc 1 botc 1 poverlap 0 doverlap 1 lmin 0.15 wmin 0.42 compatible {sky130_fd_pr__nfet_01v8 sky130_fd_pr__nfet_01v8_lvt sky130_fd_bs_flash__special_sonosfet_star sky130_fd_pr__nfet_g5v0d10v5 sky130_fd_pr__nfet_05v0_nvt sky130_fd_pr__nfet_03v3_nvt} full_metal 1 viasrc 100 viadrn 100 viagate 70 viagb 0 viagr 0 viagl 0 viagt 0

# cell sky130_fd_pr__nfet_01v8_SCJFGL: kit device sky130_fd_pr__nfet_01v8, w 2 l 0.150 m 1 nf 1 diffcov 100 polycov 100 guard 0 glc 1 grc 1 gtc 1 gbc 1 tbcov 100 rlcov 100 topc 0 botc 1 poverlap 0 doverlap 1 lmin 0.15 wmin 0.42 compatible {sky130_fd_pr__nfet_01v8 sky130_fd_pr__nfet_01v8_lvt sky130_fd_bs_flash__special_sonosfet_star sky130_fd_pr__nfet_g5v0d10v5 sky130_fd_pr__nfet_05v0_nvt sky130_fd_pr__nfet_03v3_nvt} full_metal 1 viasrc 100 viadrn 100 viagate 100 viagb 0 viagr 0 viagl 0 viagt 0

# cell sky130_fd_pr__nfet_01v8_TCR5KT: kit device sky130_fd_pr__nfet_01v8, w 2 l 0.150 m 1 nf 1 diffcov 100 polycov 100 guard 0 glc 1 grc 1 gtc 1 gbc 1 tbcov 100 rlcov 100 topc 1 botc 0 poverlap 0 doverlap 1 lmin 0.15 wmin 0.42 compatible {sky130_fd_pr__nfet_01v8 sky130_fd_pr__nfet_01v8_lvt sky130_fd_bs_flash__special_sonosfet_star sky130_fd_pr__nfet_g5v0d10v5 sky130_fd_pr__nfet_05v0_nvt sky130_fd_pr__nfet_03v3_nvt} full_metal 1 viasrc 100 viadrn 100 viagate 100 viagb 0 viagr 0 viagl 0 viagt 0

# cell sky130_fd_pr__nfet_01v8_6H9P4D: kit device sky130_fd_pr__nfet_01v8, w 1 l 0.150 m 1 nf 1 diffcov 100 polycov 100 guard 0 glc 1 grc 1 gtc 1 gbc 1 tbcov 100 rlcov 100 topc 0 botc 0 poverlap 0 doverlap 1 lmin 0.15 wmin 0.42 compatible {sky130_fd_pr__nfet_01v8 sky130_fd_pr__nfet_01v8_lvt sky130_fd_bs_flash__special_sonosfet_star sky130_fd_pr__nfet_g5v0d10v5 sky130_fd_pr__nfet_05v0_nvt sky130_fd_pr__nfet_03v3_nvt} full_metal 1 viasrc 100 viadrn 100 viagate 100 viagb 0 viagr 0 viagl 0 viagt 0

# cell sky130_fd_pr__nfet_01v8_YYNGNX: kit device sky130_fd_pr__nfet_01v8, w 1 l 0.8 m 2 nf 4 diffcov 100 polycov 100 guard 0 glc 1 grc 1 gtc 1 gbc 1 tbcov 100 rlcov 100 topc 1 botc 1 poverlap 1 doverlap 1 lmin 0.15 wmin 0.42 compatible {sky130_fd_pr__nfet_01v8 sky130_fd_pr__nfet_01v8_lvt sky130_fd_bs_flash__special_sonosfet_star sky130_fd_pr__nfet_g5v0d10v5 sky130_fd_pr__nfet_05v0_nvt sky130_fd_pr__nfet_03v3_nvt} full_metal 1 viasrc 100 viadrn 100 viagate 70 viagb 0 viagr 0 viagl 0 viagt 0
